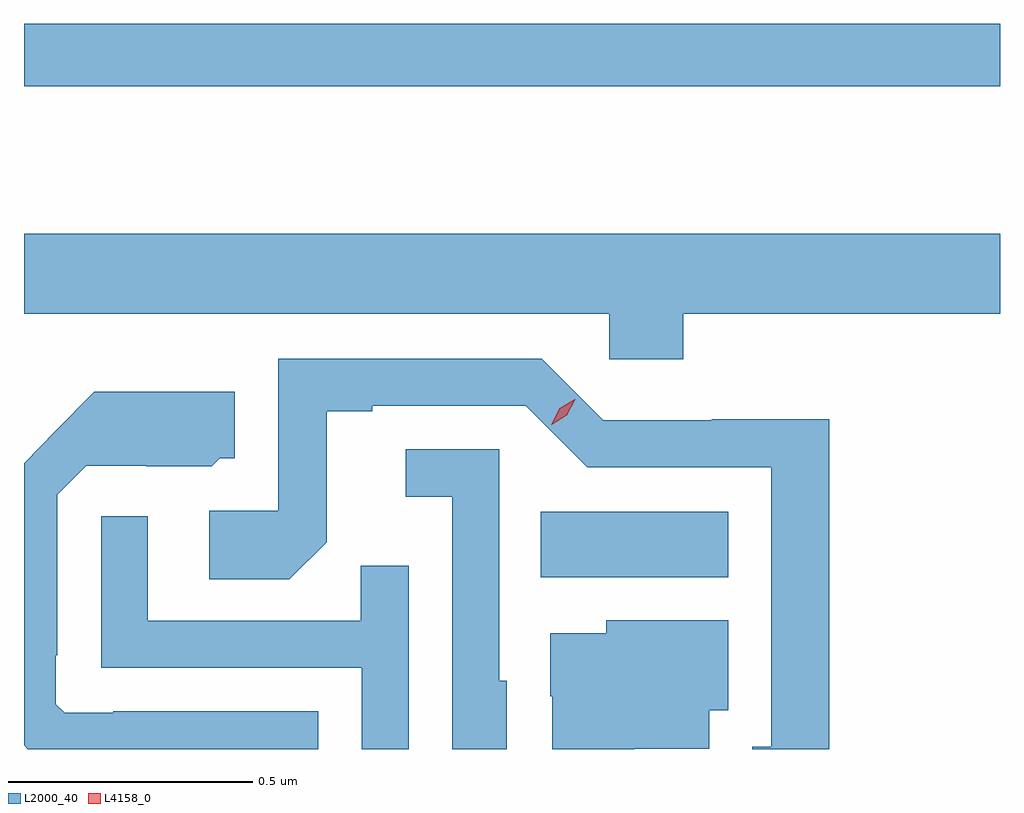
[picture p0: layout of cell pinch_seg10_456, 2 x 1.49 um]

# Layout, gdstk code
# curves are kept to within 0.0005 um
import gdstk
lib = gdstk.Library(unit=1e-6, precision=1e-09)
def R(c, l, rs):  # rectangles x0, y0, x1, y1
    for r in rs: c.add(gdstk.rectangle(r[:2], r[2:], *l))
def P(c, l, *ps):  # polygons
    for p in ps: c.add(gdstk.Polygon(p, *l))
L2000_40 = (2000, 40)
L4158_0 = (4158, 0)

pinch_seg10_456 = lib.new_cell('pinch_seg10_456')
R(pinch_seg10_456, L2000_40, [(363.364,1311.764,363.748,1311.898), (362.305,1312.77,364.305,1312.898)])
P(pinch_seg10_456, L2000_40, [(363.656,1312.304),(364.305,1312.304),(364.305,1312.468),(362.305,1312.468),(362.305,1312.304),(363.504,1312.304),(363.504,1312.211),(363.656,1312.211)],
  [(363.955,1312.088),(363.714,1312.088),(363.714,1312.086),(363.492,1312.086),(363.366,1312.212),(362.826,1312.212),(362.826,1311.9),(362.685,1311.9),(362.685,1311.76),(362.849,1311.76),(362.925,1311.836),(362.925,1312.104),(363.019,1312.104),(363.019,1312.116),(363.333,1312.116),(363.459,1311.99),(363.836,1311.99),(363.836,1311.417),(363.797,1311.417),(363.797,1311.412),(363.955,1311.412)],
  [(362.908,1311.49),(362.488,1311.49),(362.488,1311.486),(362.388,1311.486),(362.37,1311.504),(362.37,1311.604),(362.373,1311.604),(362.373,1311.933),(362.433,1311.993),(362.556,1311.993),(362.556,1311.992),(362.69,1311.992),(362.706,1312.008),(362.737,1312.008),(362.737,1312.144),(362.449,1312.144),(362.305,1311.998),(362.305,1311.42),(362.313,1311.412),(362.908,1311.412)],
  [(363.294,1311.552),(363.279,1311.552),(363.279,1312.026),(363.087,1312.026),(363.087,1311.929),(363.183,1311.929),(363.183,1311.412),(363.294,1311.412)],
  [(363.093,1311.788),(362.995,1311.788),(362.995,1311.675),(362.559,1311.675),(362.559,1311.889),(362.463,1311.889),(362.463,1311.579),(362.997,1311.579),(362.997,1311.412),(363.093,1311.412)],
  [(363.557,1311.413),(363.709,1311.413),(363.709,1311.492),(363.748,1311.492),(363.748,1311.676),(363.498,1311.676),(363.498,1311.649),(363.383,1311.649),(363.383,1311.52),(363.387,1311.52),(363.387,1311.412),(363.556,1311.412)])
P(pinch_seg10_456, L4158_0, [(363.385,1312.077),(363.385,1312.077),(363.403,1312.11),(363.434,1312.129),(363.435,1312.129),(363.435,1312.129),(363.417,1312.096),(363.386,1312.077)])

lib.write_gds('pinch_seg10_456.gds')
